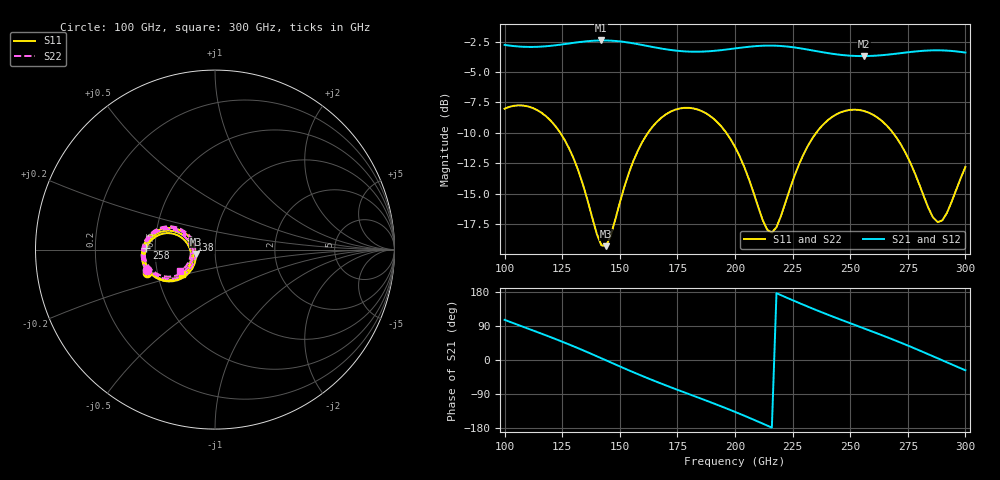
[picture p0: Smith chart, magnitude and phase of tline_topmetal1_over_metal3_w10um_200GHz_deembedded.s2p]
! Created with skrf 2.0.1 (http://scikit-rf.org).
# GHz S DB R 50.0
!freq dBS11 angS11 dBS21 angS21 dBS12 angS12 dBS22 angS22
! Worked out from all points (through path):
!   101 points, 100 GHz to 300 GHz, reference 50 ohm
!   highest |S21| = -2.41 dB at 142 GHz (marker M1); lowest = -3.7 dB at 256 GHz (marker M2)
!   group delay of S21, straight-line fit = 6.85 ps
!   lowest |S11| = -19.3 dB at 144 GHz (marker M3), VSWR 1.24, Z = 40.4 - j1.96 ohm
!   |S11| at or under -10 dB: 124.2 GHz to 162.2 GHz (38.05 GHz wide, 26.6 % of centre); 196.2 GHz to 235.3 GHz (39.01 GHz wide, 18.1 % of centre); 268.6 GHz to end of sweep
!   |S22| runs from -19.2 to -7.7 dB; largest |S21 - S12| = 7.7e-14
!   S11 on the Smith chart (normalised r, x): 100 GHz: 0.44, -0.13; 138 GHz: 0.76, +0.09; 258 GHz: 0.45, +0.01; 300 GHz: 0.67, -0.19
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100  -8.01 -161.2  -2.77 105.9  -2.77 105.9  -8.02 -163.0
118  -8.64 167.9  -2.88 64.9  -2.88 64.9  -8.64 165.9
126  -10.56 156.1  -2.71 45.9  -2.71 45.9  -10.56 154.0
134  -14.24 151.0  -2.51 25.7  -2.51 25.7  -14.22 148.9
138  -16.94 157.3  -2.44 15.2  -2.44 15.2  -16.89 155.1
142  -19.23 178.0  -2.41 4.6  -2.41 4.6  -19.14 175.5
144  -19.30 -167.2  -2.41 -0.8  -2.41 -0.8  -19.22 -169.9
156  -12.25 -139.0  -2.65 -32.6  -2.65 -32.6  -12.25 -142.0
168  -8.76 -154.6  -3.07 -62.3  -3.07 -62.3  -8.77 -157.7
184  -8.09 179.6  -3.33 -99.1  -3.33 -99.1  -8.11 176.2
200  -11.15 157.5  -3.06 -136.9  -3.06 -136.9  -11.17 153.9
208  -14.88 157.2  -2.89 -157.2  -2.89 -157.2  -14.91 153.4
216  -18.19 -170.9  -2.83 -178.4  -2.83 -178.4  -18.24 -174.7
224  -14.51 -142.2  -2.94 160.4  -2.94 160.4  -14.54 -146.0
234  -10.33 -146.1  -3.24 134.9  -3.24 134.9  -10.35 -150.2
244  -8.47 -159.9  -3.55 110.9  -3.55 110.9  -8.49 -164.2
256  -8.20 -178.2  -3.69 83.4  -3.69 83.4  -8.22 177.3
258  -8.33 178.8  -3.68 78.8  -3.68 78.8  -8.36 174.3
268  -9.85 165.2  -3.54 55.3  -3.54 55.3  -9.88 160.4
280  -14.24 160.5  -3.28 25.4  -3.28 25.4  -14.27 155.5
288  -17.33 -174.2  -3.22 4.4  -3.22 4.4  -17.39 -179.2
300  -12.80 -142.9  -3.40 -27.1  -3.40 -27.1  -12.83 -148.0
